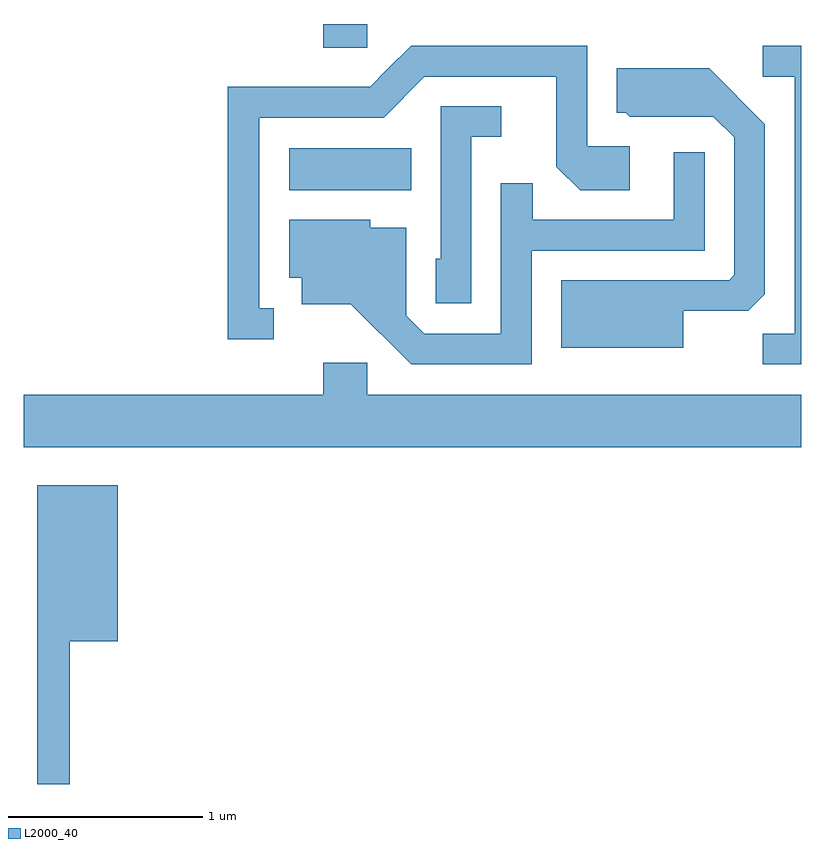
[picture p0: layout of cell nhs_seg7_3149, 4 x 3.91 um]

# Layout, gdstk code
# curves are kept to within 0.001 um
import gdstk
lib = gdstk.Library(unit=1e-6, precision=1e-09)
def R(c, l, rs):  # rectangles x0, y0, x1, y1
    for r in rs: c.add(gdstk.rectangle(r[:2], r[2:], *l))
def P(c, l, *ps):  # polygons
    for p in ps: c.add(gdstk.Polygon(p, *l))
L2000_40 = (2000, 40)

nhs_seg7_3149 = lib.new_cell('nhs_seg7_3149')
R(nhs_seg7_3149, L2000_40, [(282.976,1733.396,283.604,1733.614), (283.151,1734.131,283.379,1734.252)])
P(nhs_seg7_3149, L2000_40, [(285.611,1734.139),(285.413,1734.139),(285.413,1733.981),(285.576,1733.981),(285.576,1732.659),(285.413,1732.659),(285.413,1732.501),(285.611,1732.501)],
  [(282.898,1732.789),(282.824,1732.789),(282.824,1733.771),(283.462,1733.771),(283.672,1733.981),(284.351,1733.981),(284.351,1733.519),(284.474,1733.396),(284.729,1733.396),(284.729,1733.624),(284.509,1733.624),(284.509,1734.139),(283.604,1734.139),(283.394,1733.929),(282.661,1733.929),(282.661,1732.631),(282.898,1732.631)],
  [(285.004,1732.776),(285.339,1732.776),(285.424,1732.862),(285.424,1733.737),(285.137,1734.024),(284.661,1734.024),(284.661,1733.796),(284.709,1733.796),(284.729,1733.776),(285.159,1733.776),(285.266,1733.669),(285.266,1732.962),(285.239,1732.934),(284.376,1732.934),(284.376,1732.586),(285.004,1732.586)],
  [(283.914,1733.671),(284.068,1733.671),(284.068,1733.829),(283.756,1733.829),(283.756,1733.044),(283.731,1733.044),(283.731,1732.816),(283.914,1732.816)],
  [(284.224,1733.086),(285.114,1733.086),(285.114,1733.593),(284.956,1733.593),(284.956,1733.244),(284.229,1733.244),(284.229,1733.433),(284.066,1733.433),(284.066,1732.659),(283.672,1732.659),(283.579,1732.752),(283.579,1733.204),(283.394,1733.204),(283.394,1733.244),(282.976,1733.244),(282.976,1732.946),(283.041,1732.946),(283.041,1732.811),(283.294,1732.811),(283.604,1732.501),(284.224,1732.501)],
  [(285.611,1732.344),(283.379,1732.344),(283.379,1732.509),(283.151,1732.509),(283.151,1732.344),(281.611,1732.344),(281.611,1732.076),(285.611,1732.076)],
  [(281.849,1731.076),(282.094,1731.076),(282.094,1731.879),(281.681,1731.879),(281.681,1730.343),(281.849,1730.343)])

lib.write_gds('nhs_seg7_3149.gds')
